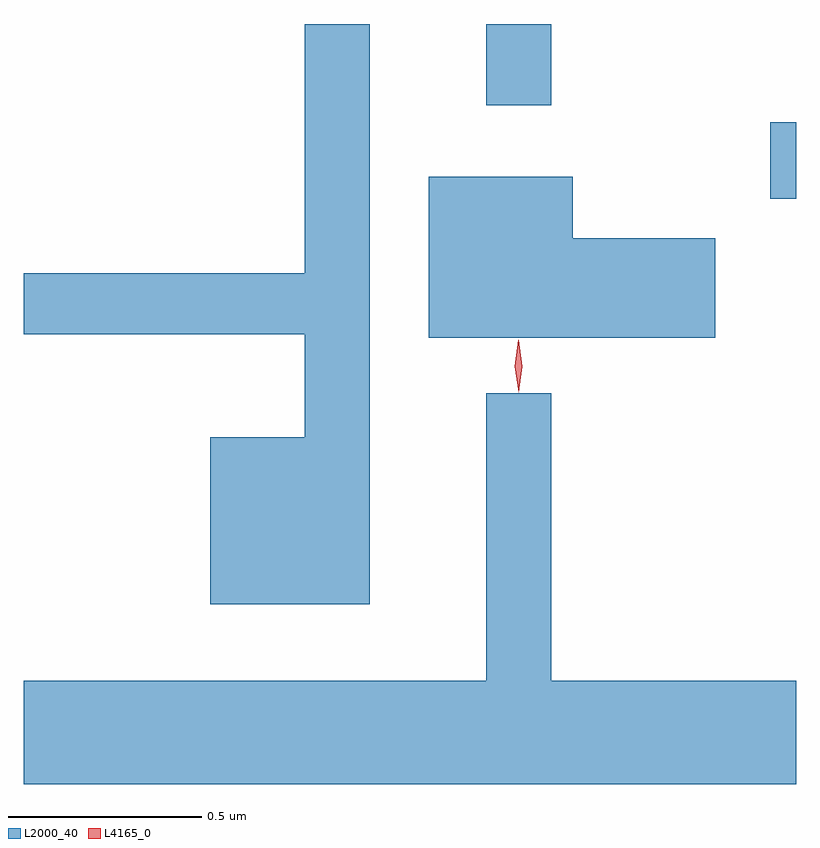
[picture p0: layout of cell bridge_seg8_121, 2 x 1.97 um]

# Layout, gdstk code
import gdstk
lib = gdstk.Library(unit=1e-6, precision=1e-09)
def R(c, l, rs):  # rectangles x0, y0, x1, y1
    for r in rs: c.add(gdstk.rectangle(r[:2], r[2:], *l))
def P(c, l, *ps):  # polygons
    for p in ps: c.add(gdstk.Polygon(p, *l))
L2000_40 = (2000, 40)
L4165_0 = (4165, 0)

bridge_seg8_121 = lib.new_cell('bridge_seg8_121')
R(bridge_seg8_121, L2000_40, [(1727.826,1866.791,1727.893,1866.989), (1727.091,1867.033,1727.259,1867.244)])
P(bridge_seg8_121, L2000_40, [(1726.789,1867.244),(1726.621,1867.244),(1726.621,1866.599),(1725.893,1866.599),(1725.893,1866.441),(1726.621,1866.441),(1726.621,1866.174),(1726.376,1866.174),(1726.376,1865.741),(1726.789,1865.741)],
  [(1727.684,1866.689),(1727.314,1866.689),(1727.314,1866.849),(1726.941,1866.849),(1726.941,1866.431),(1727.684,1866.431)],
  [(1727.893,1865.544),(1727.259,1865.544),(1727.259,1866.288),(1727.091,1866.288),(1727.091,1865.544),(1725.893,1865.544),(1725.893,1865.276),(1727.893,1865.276)])
P(bridge_seg8_121, L4165_0, [(1727.174,1866.293),(1727.174,1866.294),(1727.164,1866.356),(1727.174,1866.419),(1727.174,1866.42),(1727.174,1866.419),(1727.184,1866.357),(1727.175,1866.294)],
  [(1727.174,1866.29),(1727.164,1866.358),(1727.173,1866.425),(1727.174,1866.426),(1727.174,1866.425),(1727.184,1866.358),(1727.175,1866.29),(1727.175,1866.29)])

lib.write_gds('bridge_seg8_121.gds')
